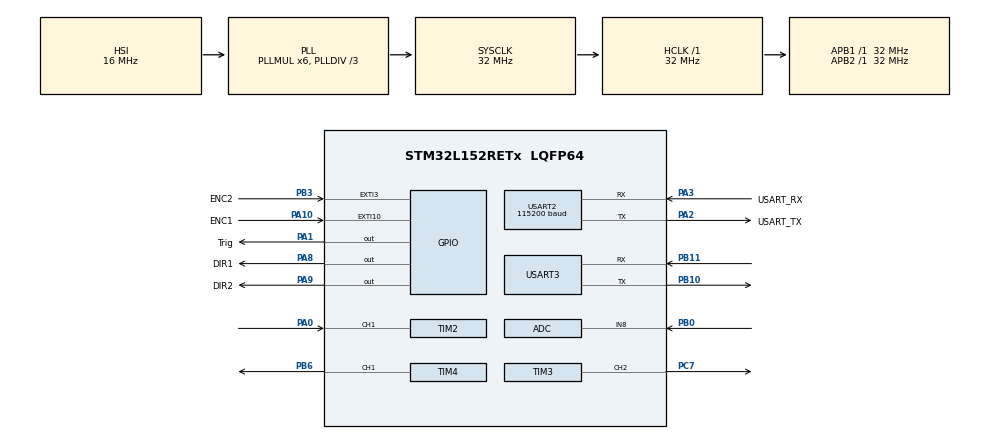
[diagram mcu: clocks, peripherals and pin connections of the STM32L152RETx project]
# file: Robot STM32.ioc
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ADC.Channel-0\#ChannelRegularConversion=ADC_CHANNEL_8
ADC.NbrOfConversionFlag=1
ADC.Rank-0\#ChannelRegularConversion=1
ADC.SamplingTime-0\#ChannelRegularConversion=ADC_SAMPLETIME_4CYCLES
Mcu.Family=STM32L1
Mcu.Name=STM32L152RETx
Mcu.Package=LQFP64
NVIC.EXTI15_10_IRQn=true\:0\:2\:false\:false\:true\:true\:true\:true
NVIC.EXTI3_IRQn=true\:0\:2\:false\:false\:true\:true\:true\:true
NVIC.PriorityGroup=NVIC_PRIORITYGROUP_0
NVIC.TIM2_IRQn=true\:0\:0\:false\:false\:true\:true\:true\:true
NVIC.TIM6_IRQn=true\:0\:0\:false\:false\:true\:true\:true\:true
NVIC.USART2_IRQn=true\:0\:1\:true\:false\:true\:true\:true\:true
NVIC.USART3_IRQn=true\:0\:0\:false\:false\:true\:true\:true\:true
PA0-WKUP1.Signal=S_TIM2_CH1_ETR
PA1.GPIO_Label=Trig
PA1.Signal=GPIO_Output
PA10.GPIO_Label=ENC1
PA10.GPIO_ModeDefaultEXTI=GPIO_MODE_IT_RISING_FALLING
PA10.Signal=GPXTI10
PA2.GPIO_Label=USART_TX
PA2.Mode=Asynchronous
PA2.Signal=USART2_TX
PA3.GPIO_Label=USART_RX
PA3.Mode=Asynchronous
PA3.Signal=USART2_RX
PA8.GPIO_Label=DIR1
PA8.Signal=GPIO_Output
PA9.GPIO_Label=DIR2
PA9.Signal=GPIO_Output
PB0.Mode=IN8
PB0.Signal=ADC_IN8
PB10.Mode=Asynchronous
PB10.Signal=USART3_TX
PB11.Mode=Asynchronous
PB11.Signal=USART3_RX
PB3.GPIO_Label=ENC2
PB3.GPIO_ModeDefaultEXTI=GPIO_MODE_IT_RISING_FALLING
PB3.Signal=GPXTI3
PB6.Signal=S_TIM4_CH1
PC14-OSC32_IN.Mode=LSE-External-Oscillator
PC14-OSC32_IN.Signal=RCC_OSC32_IN
PC15-OSC32_OUT.Mode=LSE-External-Oscillator
PC15-OSC32_OUT.Signal=RCC_OSC32_OUT
PC7.Signal=S_TIM3_CH2
PH0-OSC_IN.Mode=HSE-External-Oscillator
PH0-OSC_IN.Signal=RCC_OSC_IN
PH1-OSC_OUT.Mode=HSE-External-Oscillator
PH1-OSC_OUT.Signal=RCC_OSC_OUT
ProjectManager.HeapSize=0x200
ProjectManager.StackSize=0x400
ProjectManager.TargetToolchain=STM32CubeIDE
RCC.48MHZClocksFreq_Value=48000000
RCC.AHBFreq_Value=32000000
RCC.APB1Freq_Value=32000000
RCC.APB1TimFreq_Value=32000000
RCC.APB2Freq_Value=32000000
RCC.APB2TimFreq_Value=32000000
RCC.HCLKFreq_Value=32000000
RCC.HSE_VALUE=8000000
RCC.HSI_VALUE=16000000
RCC.MSI_VALUE=2097000
RCC.PLLDIV=RCC_PLL_DIV3
RCC.PLLMUL=RCC_PLL_MUL6
RCC.RTCClockSelectionVirtual=RCC_RTCCLKSOURCE_LSE
RCC.SYSCLKFreq_VALUE=32000000
RCC.SYSCLKSource=RCC_SYSCLKSOURCE_PLLCLK
RCC.USBOutput=48000000
RCC.VCOOutputFreq_Value=96000000
SH.S_TIM2_CH1_ETR.0=TIM2_CH1,Input_Capture1_from_TI1
SH.S_TIM3_CH2.0=TIM3_CH2,PWM Generation2 CH2
SH.S_TIM4_CH1.0=TIM4_CH1,PWM Generation1 CH1
TIM2.Channel-Input_Capture1_from_TI1=TIM_CHANNEL_1
TIM2.Prescaler=31
TIM3.Channel-PWM\ Generation2\ CH2=TIM_CHANNEL_2
TIM3.Period=100
TIM3.Prescaler=1600-1
TIM4.Channel-PWM\ Generation1\ CH1=TIM_CHANNEL_1
TIM4.Channel-PWM\ Generation4\ CH4=TIM_CHANNEL_4
TIM4.Prescaler=1600-1
TIM6.Period=9999
TIM6.Prescaler=7199
USART2.BaudRate=115200
USART2.VirtualMode=VM_ASYNC
USART3.VirtualMode=VM_ASYNC
VP_TIM6_VS_ClockSourceINT.Mode=Enable_Timer
board=NUCLEO-L152RE

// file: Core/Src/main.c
/* USER CODE BEGIN Header */
/**
  ******************************************************************************
  * @file           : main.c
  * @brief          : Main program body
  ******************************************************************************
  * @attention
  * Copyright (c) 2024 STMicroelectronics.
  * All rights reserved.
  * This software is licensed under terms that can be found in the LICENSE file
  * in the root directory of this software component.
  * If no LICENSE file comes with this software, it is provided AS-IS.
  ******************************************************************************
  */
/* USER CODE END Header */

#include "main.h"
#include "robot.h"

ADC_HandleTypeDef hadc;

TIM_HandleTypeDef htim2;
TIM_HandleTypeDef htim3;
TIM_HandleTypeDef htim4;
TIM_HandleTypeDef htim6;

UART_HandleTypeDef huart2;
UART_HandleTypeDef huart3;

void SystemClock_Config(void);
static void MX_GPIO_Init(void);
static void MX_USART2_UART_Init(void);
static void MX_USART3_UART_Init(void);
static void MX_TIM2_Init(void);
static void MX_TIM3_Init(void);
static void MX_TIM4_Init(void);
static void MX_TIM6_Init(void);
static void MX_ADC_Init(void);

int main(void)
{

  HAL_Init();                       // Reset of all peripherals, init Flash and Systick

  SystemClock_Config();            // Configure system clock

  MX_GPIO_Init();
  MX_USART2_UART_Init();
  MX_USART3_UART_Init();
  MX_TIM2_Init();
  MX_TIM3_Init();
  MX_TIM4_Init();
  MX_TIM6_Init();
  MX_ADC_Init();

  /* USER CODE BEGIN 2 */
  HAL_TIM_PWM_Start(&htim3, TIM_CHANNEL_2);
  HAL_TIM_PWM_Start(&htim4, TIM_CHANNEL_1);
  HAL_TIM_Base_Start_IT(&htim6);
  HAL_TIM_IC_Start_IT(&htim2, TIM_CHANNEL_1);

  start_uart_receive();
  /* USER CODE END 2 */

  /* Infinite loop -----------------------------------------------------------*/
  while (1)
  {
    /* USER CODE BEGIN WHILE */
    Rx_commandes();

    switch (current_state)
    {
      case AVANCER:
      case ARRIERE:
        if ((encodeur_L + encodeur_R) / 2 >= target_ticks)
        {
          stop_robot();
          current_state = IDLE;
        }
        break;

      case TOURNER_GAUCHE:
      case TOURNER_DROITE:
        if (abs(Angle) >= fabsf(target_angle))
        {
          stop_robot();
          current_state = IDLE;
        }
        break;

      case IDLE:
        if (auto_enabled)
        {
          auto_mode();
        }
        break;

      default:
        break;
    }
    /* USER CODE END WHILE */

  }
}

void SystemClock_Config(void)
{
  RCC_OscInitTypeDef RCC_OscInitStruct = {0};
  RCC_ClkInitTypeDef RCC_ClkInitStruct = {0};

  /** Configure the main internal regulator output voltage
  */
  __HAL_PWR_VOLTAGESCALING_CONFIG(PWR_REGULATOR_VOLTAGE_SCALE1);

  /** Initializes the RCC Oscillators according to the specified parameters
  * in the RCC_OscInitTypeDef structure.
  */
  RCC_OscInitStruct.OscillatorType = RCC_OSCILLATORTYPE_HSI;
  RCC_OscInitStruct.HSIState = RCC_HSI_ON;
  RCC_OscInitStruct.HSICalibrationValue = RCC_HSICALIBRATION_DEFAULT;
  RCC_OscInitStruct.PLL.PLLState = RCC_PLL_ON;
  RCC_OscInitStruct.PLL.PLLSource = RCC_PLLSOURCE_HSI;
  RCC_OscInitStruct.PLL.PLLMUL = RCC_PLL_MUL6;
  RCC_OscInitStruct.PLL.PLLDIV = RCC_PLL_DIV3;
  if (HAL_RCC_OscConfig(&RCC_OscInitStruct) != HAL_OK)
  {
    Error_Handler();
  }

  /** Initializes the CPU, AHB and APB buses clocks
  */
  RCC_ClkInitStruct.ClockType = RCC_CLOCKTYPE_HCLK|RCC_CLOCKTYPE_SYSCLK
                              |RCC_CLOCKTYPE_PCLK1|RCC_CLOCKTYPE_PCLK2;
  RCC_ClkInitStruct.SYSCLKSource = RCC_SYSCLKSOURCE_PLLCLK;
  RCC_ClkInitStruct.AHBCLKDivider = RCC_SYSCLK_DIV1;
  RCC_ClkInitStruct.APB1CLKDivider = RCC_HCLK_DIV1;
  RCC_ClkInitStruct.APB2CLKDivider = RCC_HCLK_DIV1;

  if (HAL_RCC_ClockConfig(&RCC_ClkInitStruct, FLASH_LATENCY_1) != HAL_OK)
  {
    Error_Handler();
  }
}

static void MX_ADC_Init(void)
{

  ADC_ChannelConfTypeDef sConfig = {0};

  /** Configure the global features of the ADC (Clock, Resolution, Data Alignment and number of conversion)
  */
  hadc.Instance = ADC1;
  hadc.Init.ClockPrescaler = ADC_CLOCK_ASYNC_DIV1;
  hadc.Init.Resolution = ADC_RESOLUTION_12B;
  hadc.Init.DataAlign = ADC_DATAALIGN_RIGHT;
  hadc.Init.ScanConvMode = ADC_SCAN_DISABLE;
  hadc.Init.EOCSelection = ADC_EOC_SEQ_CONV;
  hadc.Init.LowPowerAutoWait = ADC_AUTOWAIT_DISABLE;
  hadc.Init.LowPowerAutoPowerOff = ADC_AUTOPOWEROFF_DISABLE;
  hadc.Init.ChannelsBank = ADC_CHANNELS_BANK_A;
  hadc.Init.ContinuousConvMode = DISABLE;
  hadc.Init.NbrOfConversion = 1;
  hadc.Init.DiscontinuousConvMode = DISABLE;
  hadc.Init.ExternalTrigConv = ADC_SOFTWARE_START;
  hadc.Init.ExternalTrigConvEdge = ADC_EXTERNALTRIGCONVEDGE_NONE;
  hadc.Init.DMAContinuousRequests = DISABLE;
  if (HAL_ADC_Init(&hadc) != HAL_OK)
  {
    Error_Handler();
  }

  /** Configure for the selected ADC regular channel its corresponding rank in the sequencer and its sample time.
  */
  sConfig.Channel = ADC_CHANNEL_8;
  sConfig.Rank = ADC_REGULAR_RANK_1;
  sConfig.SamplingTime = ADC_SAMPLETIME_4CYCLES;
  if (HAL_ADC_ConfigChannel(&hadc, &sConfig) != HAL_OK)
  {
    Error_Handler();
  }

}

static void MX_TIM2_Init(void)
{

  TIM_MasterConfigTypeDef sMasterConfig = {0};
  TIM_IC_InitTypeDef sConfigIC = {0};

  htim2.Instance = TIM2;
  htim2.Init.Prescaler = 31;
  htim2.Init.CounterMode = TIM_COUNTERMODE_UP;
  htim2.Init.Period = 65535;
  htim2.Init.ClockDivision = TIM_CLOCKDIVISION_DIV1;
  htim2.Init.AutoReloadPreload = TIM_AUTORELOAD_PRELOAD_DISABLE;
  if (HAL_TIM_IC_Init(&htim2) != HAL_OK)
  {
    Error_Handler();
  }
  sMasterConfig.MasterOutputTrigger = TIM_TRGO_RESET;
  sMasterConfig.MasterSlaveMode = TIM_MASTERSLAVEMODE_DISABLE;
  if (HAL_TIMEx_MasterConfigSynchronization(&htim2, &sMasterConfig) != HAL_OK)
  {
    Error_Handler();
  }
  sConfigIC.ICPolarity = TIM_INPUTCHANNELPOLARITY_RISING;
  sConfigIC.ICSelection = TIM_ICSELECTION_DIRECTTI;
  sConfigIC.ICPrescaler = TIM_ICPSC_DIV1;
  sConfigIC.ICFilter = 0;
  if (HAL_TIM_IC_ConfigChannel(&htim2, &sConfigIC, TIM_CHANNEL_1) != HAL_OK)
  {
    Error_Handler();
  }

}

static void MX_TIM3_Init(void)
{

  TIM_MasterConfigTypeDef sMasterConfig = {0};
  TIM_OC_InitTypeDef sConfigOC = {0};

  htim3.Instance = TIM3;
  htim3.Init.Prescaler = 1600-1;
  htim3.Init.CounterMode = TIM_COUNTERMODE_UP;
  htim3.Init.Period = 100;
  htim3.Init.ClockDivision = TIM_CLOCKDIVISION_DIV1;
  htim3.Init.AutoReloadPreload = TIM_AUTORELOAD_PRELOAD_DISABLE;
  if (HAL_TIM_PWM_Init(&htim3) != HAL_OK)
  {
    Error_Handler();
  }
  sMasterConfig.MasterOutputTrigger = TIM_TRGO_RESET;
  sMasterConfig.MasterSlaveMode = TIM_MASTERSLAVEMODE_DISABLE;
  if (HAL_TIMEx_MasterConfigSynchronization(&htim3, &sMasterConfig) != HAL_OK)
  {
    Error_Handler();
  }
  sConfigOC.OCMode = TIM_OCMODE_PWM1;
  sConfigOC.Pulse = 0;
  sConfigOC.OCPolarity = TIM_OCPOLARITY_HIGH;
  sConfigOC.OCFastMode = TIM_OCFAST_DISABLE;
  if (HAL_TIM_PWM_ConfigChannel(&htim3, &sConfigOC, TIM_CHANNEL_2) != HAL_OK)
  {
    Error_Handler();
  }
  HAL_TIM_MspPostInit(&htim3);

}

static void MX_TIM4_Init(void)
{

  TIM_MasterConfigTypeDef sMasterConfig = {0};
  TIM_OC_InitTypeDef sConfigOC = {0};

  htim4.Instance = TIM4;
  htim4.Init.Prescaler = 1600-1;
  htim4.Init.CounterMode = TIM_COUNTERMODE_UP;
  htim4.Init.Period = 100;
  htim4.Init.ClockDivision = TIM_CLOCKDIVISION_DIV1;
  htim4.Init.AutoReloadPreload = TIM_AUTORELOAD_PRELOAD_DISABLE;
  if (HAL_TIM_PWM_Init(&htim4) != HAL_OK)
  {
    Error_Handler();
  }
  sMasterConfig.MasterOutputTrigger = TIM_TRGO_RESET;
  sMasterConfig.MasterSlaveMode = TIM_MASTERSLAVEMODE_DISABLE;
  if (HAL_TIMEx_MasterConfigSynchronization(&htim4, &sMasterConfig) != HAL_OK)
  {
    Error_Handler();
  }
  sConfigOC.OCMode = TIM_OCMODE_PWM1;
  sConfigOC.Pulse = 0;
  sConfigOC.OCPolarity = TIM_OCPOLARITY_HIGH;
  sConfigOC.OCFastMode = TIM_OCFAST_DISABLE;
  if (HAL_TIM_PWM_ConfigChannel(&htim4, &sConfigOC, TIM_CHANNEL_1) != HAL_OK)
  {
    Error_Handler();
  }
  HAL_TIM_MspPostInit(&htim4);

}

static void MX_TIM6_Init(void)
{

  TIM_MasterConfigTypeDef sMasterConfig = {0};

  htim6.Instance = TIM6;
  htim6.Init.Prescaler = 7199;
  htim6.Init.CounterMode = TIM_COUNTERMODE_UP;
  htim6.Init.Period = 9999;
  htim6.Init.AutoReloadPreload = TIM_AUTORELOAD_PRELOAD_DISABLE;
  if (HAL_TIM_Base_Init(&htim6) != HAL_OK)
  {
    Error_Handler();
  }
  sMasterConfig.MasterOutputTrigger = TIM_TRGO_RESET;
  sMasterConfig.MasterSlaveMode = TIM_MASTERSLAVEMODE_DISABLE;
  if (HAL_TIMEx_MasterConfigSynchronization(&htim6, &sMasterConfig) != HAL_OK)
  {
    Error_Handler();
  }

}

static void MX_USART2_UART_Init(void)
{

  huart2.Instance = USART2;
  huart2.Init.BaudRate = 115200;
  huart2.Init.WordLength = UART_WORDLENGTH_8B;
  huart2.Init.StopBits = UART_STOPBITS_1;
  huart2.Init.Parity = UART_PARITY_NONE;
  huart2.Init.Mode = UART_MODE_TX_RX;
  huart2.Init.HwFlowCtl = UART_HWCONTROL_NONE;
  huart2.Init.OverSampling = UART_OVERSAMPLING_16;
  if (HAL_UART_Init(&huart2) != HAL_OK)
  {
    Error_Handler();
  }

}

static void MX_USART3_UART_Init(void)
{

  huart3.Instance = USART3;
  huart3.Init.BaudRate = 115200;
  huart3.Init.WordLength = UART_WORDLENGTH_8B;
  huart3.Init.StopBits = UART_STOPBITS_1;
  huart3.Init.Parity = UART_PARITY_NONE;
  huart3.Init.Mode = UART_MODE_TX_RX;
  huart3.Init.HwFlowCtl = UART_HWCONTROL_NONE;
  huart3.Init.OverSampling = UART_OVERSAMPLING_16;
  if (HAL_UART_Init(&huart3) != HAL_OK)
  {
    Error_Handler();
  }

}

static void MX_GPIO_Init(void)
{
  GPIO_InitTypeDef GPIO_InitStruct = {0};

  /* GPIO Ports Clock Enable */
  __HAL_RCC_GPIOC_CLK_ENABLE();
  __HAL_RCC_GPIOH_CLK_ENABLE();
  __HAL_RCC_GPIOA_CLK_ENABLE();
  __HAL_RCC_GPIOB_CLK_ENABLE();

  /*Configure GPIO pin Output Level */
  HAL_GPIO_WritePin(GPIOA, Trig_Pin|DIR1_Pin|DIR2_Pin, GPIO_PIN_RESET);

  /*Configure GPIO pins : Trig_Pin DIR1_Pin DIR2_Pin */
  GPIO_InitStruct.Pin = Trig_Pin|DIR1_Pin|DIR2_Pin;
  GPIO_InitStruct.Mode = GPIO_MODE_OUTPUT_PP;
  GPIO_InitStruct.Pull = GPIO_NOPULL;
  GPIO_InitStruct.Speed = GPIO_SPEED_FREQ_LOW;
  HAL_GPIO_Init(GPIOA, &GPIO_InitStruct);

  /*Configure GPIO pin : ENC1_Pin */
  GPIO_InitStruct.Pin = ENC1_Pin;
  GPIO_InitStruct.Mode = GPIO_MODE_IT_RISING_FALLING;
  GPIO_InitStruct.Pull = GPIO_NOPULL;
  HAL_GPIO_Init(ENC1_GPIO_Port, &GPIO_InitStruct);

  /*Configure GPIO pin : ENC2_Pin */
  GPIO_InitStruct.Pin = ENC2_Pin;
  GPIO_InitStruct.Mode = GPIO_MODE_IT_RISING_FALLING;
  GPIO_InitStruct.Pull = GPIO_NOPULL;
  HAL_GPIO_Init(ENC2_GPIO_Port, &GPIO_InitStruct);

  /* EXTI interrupt init*/
  HAL_NVIC_SetPriority(EXTI3_IRQn, 0, 2);
  HAL_NVIC_EnableIRQ(EXTI3_IRQn);

  HAL_NVIC_SetPriority(EXTI15_10_IRQn, 0, 2);
  HAL_NVIC_EnableIRQ(EXTI15_10_IRQn);

}

/* USER CODE BEGIN 4 */
//  interruption TMER6
void HAL_TIM_PeriodElapsedCallback(TIM_HandleTypeDef *htim) {
    if (htim->Instance == TIM6) {
     update_and_transmit_data();
    }
}

// Interruption UART TX

void HAL_UART_TxCpltCallback(UART_HandleTypeDef *huart)

{
	if (huart->Instance == USART3) {
	        TX_busy = 0;
	    }
}

// Interruption UART RX
void HAL_UART_RxCpltCallback(UART_HandleTypeDef *huart) {
	if (huart->Instance == USART3) {
		if (rx_data != '\n') {
			rx_buffer[rx_index++] = rx_data;
		}else {
			 rx_buffer[rx_index] = '\0';
			 rx_index = 0 ;

		}
	}
			start_uart_receive() ;
	}

/* USER CODE END 4 */

void Error_Handler(void)
{
  __disable_irq();
  while (1)
  {
  }
}
